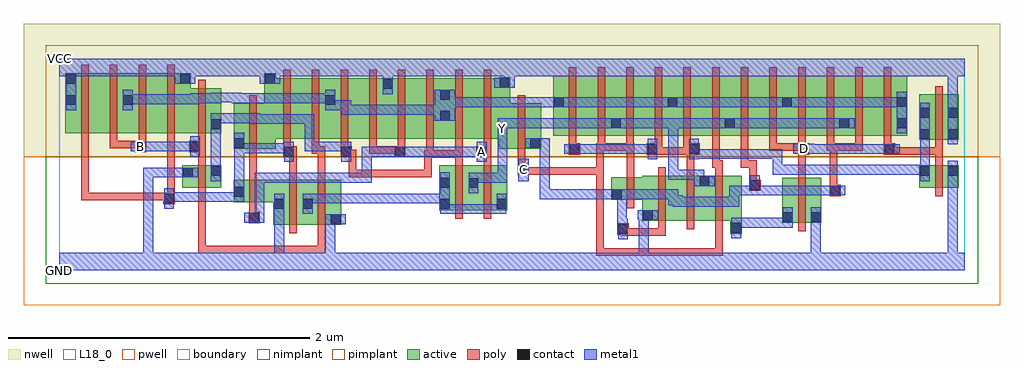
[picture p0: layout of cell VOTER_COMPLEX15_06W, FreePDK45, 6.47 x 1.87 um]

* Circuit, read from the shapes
.subckt VOTER_COMPLEX15_06W A B C D GND VCC Y
M1 n1 B GND VSUBS nfet w=0.15u l=0.05u
M2 GND A n2 VSUBS nfet w=0.15u l=0.05u
M3 n3 n2 GND VSUBS nfet w=0.3u l=0.05u
M4 GND B n3 VSUBS nfet w=0.3u l=0.05u
M5 Y n1 n3 VSUBS nfet w=0.3u l=0.05u
M6 n3 A Y VSUBS nfet w=0.3u l=0.05u
M7 GND C n4 VSUBS nfet w=0.15u l=0.05u
M8 n5 n4 GND VSUBS nfet w=0.3u l=0.05u
M9 Y n6 n5 VSUBS nfet w=0.3u l=0.05u
M10 n7 C Y VSUBS nfet w=0.3u l=0.05u
M11 GND D n7 VSUBS nfet w=0.3u l=0.05u
M12 GND D n6 VSUBS nfet w=0.15u l=0.05u
M13 n8 n2 VCC n9 pfet w=0.4u l=0.05u
M14 n10 B n8 n9 pfet w=0.4u l=0.05u
M15 n11 B n10 n9 pfet w=0.4u l=0.05u
M16 VCC n2 n11 n9 pfet w=0.4u l=0.05u
M17 n1 B VCC n9 pfet w=0.3u l=0.05u
M18 VCC A n2 n9 pfet w=0.3u l=0.05u
M19 n12 n2 VCC n9 pfet w=0.4u l=0.05u
M20 n10 B n12 n9 pfet w=0.4u l=0.05u
M21 n13 n1 n10 n9 pfet w=0.4u l=0.05u
M22 VCC A n13 n9 pfet w=0.4u l=0.05u
M23 n14 A VCC n9 pfet w=0.4u l=0.05u
M24 n10 n1 n14 n9 pfet w=0.4u l=0.05u
M25 n15 n1 n10 n9 pfet w=0.4u l=0.05u
M26 VCC A n15 n9 pfet w=0.4u l=0.05u
M27 n4 C VCC n9 pfet w=0.3u l=0.05u
M28 n16 n6 n10 n9 pfet w=0.4u l=0.05u
M29 Y C n16 n9 pfet w=0.4u l=0.05u
M30 n17 C Y n9 pfet w=0.4u l=0.05u
M31 n10 n6 n17 n9 pfet w=0.4u l=0.05u
M32 n18 n6 n10 n9 pfet w=0.4u l=0.05u
M33 Y C n18 n9 pfet w=0.4u l=0.05u
M34 n19 n4 Y n9 pfet w=0.4u l=0.05u
M35 n10 D n19 n9 pfet w=0.4u l=0.05u
M36 n20 D n10 n9 pfet w=0.4u l=0.05u
M37 Y n4 n20 n9 pfet w=0.4u l=0.05u
M38 n21 n4 Y n9 pfet w=0.4u l=0.05u
M39 n10 D n21 n9 pfet w=0.4u l=0.05u
M40 VCC D n6 n9 pfet w=0.3u l=0.05u
.ends

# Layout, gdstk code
import gdstk
lib = gdstk.Library(unit=1e-6, precision=1e-09)
def R(c, l, rs):  # rectangles x0, y0, x1, y1
    for r in rs: c.add(gdstk.rectangle(r[:2], r[2:], *l))
def A(c, l, x, y, w, h, nx, ny, dx, dy):  # array of equal rectangles
    R(c, l, [(x+i*dx, y+j*dy, x+i*dx+w, y+j*dy+h) for i in range(nx) for j in range(ny)])
active = (1, 0)
pwell = (2, 0)
nwell = (3, 0)
nimplant = (4, 0)
pimplant = (5, 0)
poly = (9, 0)
contact = (10, 0)
metal1 = (11, 0)
L18_0 = (18, 0)
boundary = (235, 0)

voter_complex15_06w = lib.new_cell('VOTER_COMPLEX15_06W')
A(voter_complex15_06w, active, 1.605, 0.872, 0.23, 0.4, 3, 1, 0.38, 0)
A(voter_complex15_06w, active, 1.76, 0.872, 0.225, 0.4, 3, 1, 0.38, 0)
A(voter_complex15_06w, active, 3.88, 0.89, 0.225, 0.4, 5, 1, 0.38, 0)
A(voter_complex15_06w, active, 4.03, 0.89, 0.23, 0.4, 4, 1, 0.38, 0)
R(voter_complex15_06w, active, [(4.452,0.242,4.527,0.627), (1.42,0.3,1.685,0.6), (1.42,0.3,1.495,0.525), (1.61,0.3,1.87,0.6), (1.61,0.3,1.685,0.525), (1.795,0.3,1.87,0.437), (4.795,0.312,4.87,0.392), (4.795,0.312,5.055,0.612), (4.98,0.312,5.055,0.392), (3.867,0.327,4.092,0.627), (3.867,0.327,3.942,0.597), (4.092,0.327,4.317,0.627), (4.242,0.327,4.527,0.627), (4.242,0.33,4.317,0.627), (2.52,0.395,2.595,0.695), (2.52,0.395,2.785,0.695), (2.71,0.395,2.97,0.695), (2.71,0.395,2.785,0.615), (2.895,0.395,2.97,0.695), (1.155,0.45,1.23,0.6), (1.155,0.45,1.495,0.6), (3.66,0.465,3.735,0.615), (3.66,0.465,3.942,0.615), (0.815,0.545,0.89,0.695), (0.815,0.545,1.075,0.695), (1,0.545,1.075,0.695), (5.705,0.545,5.78,0.695), (5.705,0.545,5.965,0.695), (5.89,0.545,5.965,0.695), (1.155,0.805,1.23,0.917), (1.155,0.805,1.435,1.105), (2.915,0.805,3.195,1.105), (3.12,0.805,3.195,0.917), (5.705,0.865,5.965,1.165), (5.705,0.865,5.78,1.165), (5.89,0.865,5.965,1.165), (1.36,0.872,1.605,1.272), (2.745,0.872,2.99,1.272), (1.76,0.88,1.835,1.2), (3.275,0.89,3.5,1.29), (3.5,0.89,3.73,1.29), (3.655,0.89,3.88,1.29), (3.655,0.89,3.73,1.07), (4.41,0.89,4.485,1.07), (5.17,0.89,5.245,1.07), (5.55,0.89,5.625,1.2), (0.04,0.907,0.265,1.307), (0.04,0.907,0.115,1.307), (0.265,0.907,0.49,1.307), (0.415,0.907,0.645,1.307), (0.415,0.907,0.49,1.2), (0.645,0.907,0.87,1.307), (0.795,0.907,1.075,1.207), (0.795,0.907,0.87,1.307), (1.36,0.907,1.435,1.307), (2.14,0.907,2.215,1.272), (2.52,0.907,2.595,1.2), (2.915,0.907,2.99,1.28), (3.275,0.907,3.38,1.2), (4.03,0.907,4.105,1.2), (4.79,0.907,4.865,1.2), (1,0.93,1.075,1.07)])
R(voter_complex15_06w, pwell, [(-0.235,-0.235,6.24,0.75)])
R(voter_complex15_06w, nwell, [(-0.235,0.75,6.24,1.635)])
R(voter_complex15_06w, nimplant, [(-0.09,-0.09,6.095,0.75)])
R(voter_complex15_06w, pimplant, [(-0.09,0.75,6.095,1.49)])
A(voter_complex15_06w, poly, 3.972, 0.272, 0.05, 0.41, 3, 1, 0.19, 0)
A(voter_complex15_06w, poly, 1.485, 0.772, 0.05, 0.095, 5, 1, 0.19, 0)
A(voter_complex15_06w, poly, 3.38, 0.79, 0.05, 0.095, 5, 1, 0.19, 0)
A(voter_complex15_06w, poly, 4.71, 0.79, 0.05, 0.095, 5, 1, 0.19, 0)
A(voter_complex15_06w, poly, 1.485, 0.817, 0.05, 0.51, 8, 1, 0.19, 0)
A(voter_complex15_06w, poly, 3.38, 0.835, 0.05, 0.51, 12, 1, 0.19, 0)
A(voter_complex15_06w, poly, 0.145, 0.852, 0.05, 0.51, 4, 1, 0.19, 0)
R(voter_complex15_06w, poly, [(3.56,0.095,3.61,0.145), (3.56,0.095,3.815,0.145), (3.56,0.095,3.61,0.682), (3.765,0.095,3.815,0.145), (3.765,0.095,3.815,0.145), (3.765,0.095,3.815,0.145), (3.765,0.095,4.022,0.145), (3.972,0.095,4.022,0.145), (3.972,0.095,4.022,0.145), (3.972,0.095,4.022,0.145), (3.972,0.095,4.155,0.145), (4.105,0.095,4.155,0.145), (4.105,0.095,4.155,0.145), (4.105,0.095,4.155,0.145), (4.105,0.095,4.155,0.145), (4.105,0.095,4.155,0.145), (4.105,0.095,4.402,0.145), (4.352,0.095,4.402,0.145), (4.352,0.095,4.402,0.145), (4.352,0.095,4.402,0.145), (4.352,0.095,4.402,0.322), (0.92,0.112,0.97,0.162), (0.92,0.112,0.97,0.162), (0.92,0.112,0.97,0.162), (0.92,0.112,1.102,0.162), (0.92,0.112,0.97,0.54), (1.052,0.112,1.102,0.162), (1.052,0.112,1.102,0.162), (1.052,0.112,1.102,0.162), (1.052,0.112,1.102,0.162), (1.052,0.112,1.102,0.162), (1.052,0.112,1.442,0.162), (1.392,0.112,1.442,0.162), (1.392,0.112,1.442,0.162), (1.392,0.112,1.442,0.162), (1.392,0.112,1.765,0.162), (1.715,0.112,1.765,0.162), (1.715,0.112,1.765,0.162), (1.715,0.112,1.765,0.162), (1.715,0.112,1.765,0.295), (3.727,0.227,4.022,0.277), (3.727,0.227,3.777,0.285), (3.972,0.227,4.022,0.322), (3.972,0.227,4.022,0.277), (3.972,0.227,4.022,0.277), (3.972,0.227,4.022,0.277), (3.702,0.235,3.777,0.31), (3.727,0.235,3.777,0.285), (1.525,0.245,1.575,0.655), (1.715,0.245,1.765,0.655), (4.9,0.257,4.95,0.667), (1.255,0.31,1.33,0.385), (1.26,0.335,1.31,0.445), (2.625,0.34,2.675,0.75), (2.815,0.34,2.865,0.75), (1.26,0.395,1.31,0.655), (3.765,0.41,3.815,0.67), (0.69,0.437,0.765,0.512), (0.145,0.462,0.195,0.512), (0.145,0.462,0.195,0.512), (0.145,0.462,0.195,0.512), (0.145,0.462,0.195,0.512), (0.145,0.462,0.195,0.512), (0.145,0.462,0.195,0.512), (0.145,0.462,0.195,0.512), (0.145,0.462,0.327,0.512), (0.145,0.462,0.195,0.902), (0.277,0.462,0.327,0.512), (0.277,0.462,0.327,0.512), (0.277,0.462,0.327,0.512), (0.277,0.462,0.607,0.512), (0.557,0.462,0.607,0.512), (0.557,0.462,0.607,0.512), (0.557,0.462,0.607,0.512), (0.557,0.462,0.74,0.512), (0.715,0.462,0.765,0.512), (0.715,0.462,0.765,0.512), (0.715,0.462,0.765,0.512), (0.715,0.462,0.765,0.512), (0.715,0.462,0.765,0.902), (0.92,0.49,0.97,0.75), (5.11,0.49,5.185,0.565), (5.81,0.49,5.86,0.75), (5.11,0.515,5.16,0.565), (5.11,0.515,5.16,0.565), (5.11,0.515,5.16,0.84), (4.577,0.525,4.652,0.6), (4.577,0.55,4.627,0.727), (1.26,0.605,1.31,0.755), (1.525,0.605,1.575,0.797), (1.715,0.605,1.765,0.822), (1.92,0.615,1.97,0.665), (1.92,0.615,1.97,0.665), (1.92,0.615,1.97,0.665), (1.92,0.615,2.105,0.665), (1.92,0.615,1.97,0.797), (2.055,0.615,2.105,0.665), (2.055,0.615,2.105,0.665), (2.055,0.615,2.105,0.665), (2.055,0.615,2.237,0.665), (2.187,0.615,2.237,0.665), (2.187,0.615,2.47,0.665), (2.42,0.615,2.47,0.665), (2.42,0.615,2.47,0.665), (2.42,0.615,2.47,0.665), (2.42,0.615,2.47,0.665), (2.42,0.615,2.47,0.665), (2.42,0.615,2.47,0.795), (4.9,0.617,4.95,0.815), (3.765,0.62,3.815,0.84), (3.04,0.632,3.115,0.707), (3.065,0.632,3.115,0.682), (3.065,0.632,3.115,0.682), (3.065,0.632,3.115,0.682), (3.065,0.632,3.115,0.682), (3.065,0.632,3.115,0.682), (3.065,0.632,3.115,0.682), (3.065,0.632,3.477,0.682), (3.427,0.632,3.477,0.682), (3.427,0.632,3.477,0.682), (3.427,0.632,3.477,0.682), (3.427,0.632,3.61,0.682), (3.56,0.632,3.61,0.682), (3.56,0.632,3.61,0.682), (3.56,0.632,3.61,0.682), (3.56,0.632,3.61,0.682), (3.56,0.632,3.61,0.682), (3.56,0.632,3.61,0.682), (3.56,0.632,3.61,0.682), (3.56,0.632,3.61,0.682), (3.56,0.632,3.61,0.682), (3.56,0.632,3.61,0.84), (4.162,0.632,4.212,0.815), (4.352,0.632,4.402,0.727), (3.04,0.657,3.09,0.8), (4.33,0.677,4.38,0.885), (4.33,0.677,4.402,0.727), (4.52,0.677,4.57,0.885), (4.52,0.677,4.627,0.727), (4.577,0.677,4.627,0.727), (4.577,0.677,4.627,0.727), (0.92,0.7,0.97,0.832), (2.625,0.7,2.675,0.795), (2.815,0.7,2.865,0.797), (5.81,0.7,5.86,0.815), (1.26,0.705,1.31,0.8), (1.26,0.705,1.31,0.755), (2.42,0.745,2.485,0.795), (2.435,0.745,2.675,0.795), (2.435,0.745,2.485,0.867), (2.625,0.745,2.675,0.795), (2.625,0.745,2.675,0.795), (2.625,0.745,2.675,0.795), (2.625,0.745,2.675,0.867), (1.485,0.747,1.575,0.822), (1.865,0.747,1.94,0.822), (1.89,0.747,1.94,0.797), (1.89,0.747,1.97,0.797), (2.22,0.747,2.295,0.822), (2.765,0.747,2.865,0.822), (1.26,0.75,1.31,1.16), (3.04,0.75,3.09,1.16), (3.38,0.765,3.455,0.84), (3.897,0.765,4,0.84), (3.95,0.765,4.19,0.815), (4.14,0.765,4.19,0.815), (4.14,0.765,4.19,0.815), (4.14,0.765,4.247,0.84), (4.9,0.765,4.975,0.84), (5.47,0.765,5.545,0.84), (5.495,0.765,5.545,0.815), (5.495,0.765,5.545,0.815), (5.495,0.765,5.86,0.815), (5.81,0.765,5.86,0.86), (5.81,0.765,5.86,0.815), (5.81,0.765,5.86,0.815), (5.81,0.765,5.86,0.815), (1.675,0.772,1.765,0.822), (2.055,0.772,2.105,0.822), (2.055,0.772,2.27,0.822), (2.22,0.772,2.27,0.822), (2.22,0.772,2.27,0.822), (2.815,0.772,2.865,0.867), (0.502,0.782,0.577,0.857), (0.862,0.782,0.97,0.857), (3.56,0.79,3.62,0.84), (3.57,0.79,3.81,0.84), (3.76,0.79,3.81,0.84), (3.76,0.79,3.81,0.84), (3.76,0.79,3.815,0.84), (4.71,0.79,4.76,0.84), (4.71,0.79,4.76,0.84), (4.71,0.79,4.76,0.84), (4.71,0.79,4.95,0.84), (5.09,0.79,5.16,0.84), (5.11,0.79,5.33,0.84), (5.28,0.79,5.33,0.84), (5.28,0.79,5.33,0.84), (5.28,0.79,5.33,0.84), (0.335,0.807,0.385,0.902), (0.335,0.807,0.385,0.857), (0.335,0.807,0.385,0.857), (0.335,0.807,0.385,0.857), (0.335,0.807,0.552,0.857), (0.525,0.807,0.575,0.902), (0.92,0.807,0.97,0.902), (5.81,0.81,5.86,1.22), (0.92,0.852,0.97,1.262)])
R(voter_complex15_06w, contact, [(3.707,0.24,3.772,0.305), (4.457,0.247,4.522,0.312), (1.8,0.305,1.865,0.37), (1.26,0.315,1.325,0.38), (4.8,0.317,4.865,0.382), (4.985,0.317,5.05,0.382), (3.872,0.332,3.937,0.397), (1.425,0.407,1.49,0.472), (1.615,0.407,1.68,0.472), (2.525,0.407,2.59,0.472), (2.9,0.407,2.965,0.472), (0.695,0.442,0.76,0.507), (3.665,0.47,3.73,0.535), (1.16,0.487,1.225,0.552), (5.115,0.495,5.18,0.56), (4.582,0.53,4.647,0.595), (2.715,0.545,2.78,0.61), (2.525,0.547,2.59,0.612), (4.247,0.557,4.312,0.622), (0.82,0.615,0.885,0.68), (1.005,0.625,1.07,0.69), (5.71,0.625,5.775,0.69), (5.895,0.625,5.96,0.69), (3.045,0.637,3.11,0.702), (1.49,0.752,1.555,0.817), (1.87,0.752,1.935,0.817), (2.225,0.752,2.29,0.817), (2.77,0.752,2.835,0.817), (3.385,0.77,3.45,0.835), (3.902,0.77,3.967,0.835), (4.177,0.77,4.242,0.835), (4.905,0.77,4.97,0.835), (5.475,0.77,5.54,0.835), (0.507,0.787,0.572,0.852), (0.867,0.787,0.932,0.852), (1.16,0.81,1.225,0.875), (3.125,0.81,3.19,0.875), (5.71,0.87,5.775,0.935), (5.895,0.87,5.96,0.935), (1.005,0.935,1.07,1), (3.66,0.942,3.725,1.007), (4.415,0.942,4.48,1.007), (5.175,0.942,5.24,1.007), (5.555,0.942,5.62,1.007), (2.525,0.99,2.59,1.055), (5.71,1.01,5.775,1.075), (5.895,1.01,5.96,1.075), (3.28,1.08,3.345,1.145), (4.035,1.08,4.1,1.145), (4.795,1.08,4.86,1.145), (5.555,1.082,5.62,1.147), (0.045,1.095,0.11,1.16), (0.42,1.095,0.485,1.16), (1.765,1.095,1.83,1.16), (2.525,1.13,2.59,1.195), (2.145,1.202,2.21,1.267), (2.92,1.21,2.985,1.275), (0.045,1.235,0.11,1.3), (0.8,1.237,0.865,1.302), (1.365,1.237,1.43,1.302)])
R(voter_complex15_06w, metal1, [(0,0,6.005,0.115), (0.557,0.05,0.622,0.115), (0.557,0.05,0.622,0.115), (0.557,0.05,0.622,0.68), (1.425,0.05,1.49,0.115), (1.425,0.05,1.49,0.115), (1.425,0.05,1.49,0.115), (1.425,0.05,1.49,0.115), (1.425,0.05,1.49,0.437), (1.765,0.05,1.83,0.115), (1.765,0.05,1.83,0.115), (1.765,0.05,1.83,0.115), (1.765,0.05,1.83,0.115), (1.765,0.05,1.83,0.37), (3.845,0.05,3.91,0.115), (3.845,0.05,3.91,0.115), (3.845,0.05,3.91,0.115), (3.845,0.05,3.91,0.115), (3.845,0.05,3.91,0.397), (4.985,0.05,5.05,0.115), (4.985,0.05,5.05,0.115), (4.985,0.05,5.05,0.115), (4.985,0.05,5.05,0.115), (4.985,0.05,5.05,0.347), (5.895,0.05,5.96,0.115), (5.895,0.05,5.96,0.115), (5.895,0.05,5.96,0.115), (5.895,0.05,5.96,0.115), (5.895,0.05,5.96,0.655), (3.707,0.205,3.772,0.34), (4.457,0.212,4.522,0.347), (3.7,0.275,3.765,0.34), (3.7,0.275,3.772,0.34), (3.7,0.275,3.765,0.535), (4.457,0.282,4.66,0.347), (4.595,0.282,4.66,0.347), (4.595,0.282,4.66,0.347), (4.595,0.282,4.66,0.347), (4.595,0.282,4.797,0.347), (4.732,0.282,4.797,0.347), (4.732,0.282,4.865,0.347), (4.8,0.282,4.865,0.417), (4.985,0.282,5.05,0.417), (1.765,0.305,1.9,0.37), (1.225,0.315,1.36,0.38), (1.295,0.315,1.36,0.645), (3.837,0.332,3.972,0.397), (1.425,0.372,1.49,0.507), (1.615,0.372,1.68,0.507), (2.525,0.372,2.59,0.647), (2.525,0.372,2.6,0.437), (2.535,0.372,2.6,0.437), (2.535,0.372,2.812,0.437), (2.747,0.372,2.812,0.437), (2.747,0.372,2.812,0.437), (2.747,0.372,2.812,0.437), (2.747,0.372,2.965,0.437), (2.9,0.372,2.965,0.507), (0.695,0.407,0.76,0.542), (4.07,0.42,4.307,0.485), (4.07,0.42,4.135,0.495), (4.242,0.42,4.307,0.485), (4.242,0.42,4.307,0.485), (4.242,0.42,4.307,0.485), (4.242,0.42,4.51,0.485), (4.445,0.42,4.51,0.56), (4.04,0.43,4.135,0.495), (4.04,0.43,4.105,0.535), (1.615,0.442,1.797,0.507), (1.732,0.442,1.797,0.507), (1.732,0.442,1.935,0.507), (1.87,0.442,1.935,0.507), (1.87,0.442,1.935,0.507), (1.87,0.442,1.935,0.507), (1.87,0.442,2.072,0.507), (2.007,0.442,2.072,0.507), (2.007,0.442,2.072,0.507), (2.007,0.442,2.072,0.507), (2.007,0.442,2.28,0.507), (2.215,0.442,2.28,0.507), (2.215,0.442,2.28,0.507), (2.215,0.442,2.28,0.507), (2.215,0.442,2.417,0.507), (2.352,0.442,2.417,0.507), (2.352,0.442,2.462,0.507), (2.397,0.442,2.462,0.507), (2.397,0.442,2.59,0.507), (0.695,0.452,0.76,0.517), (0.695,0.452,0.76,0.517), (0.695,0.452,0.932,0.517), (0.867,0.452,0.932,0.517), (0.867,0.452,0.932,0.517), (0.867,0.452,0.932,0.517), (0.867,0.452,1.225,0.517), (1.16,0.452,1.225,0.587), (3.187,0.47,3.252,0.535), (3.187,0.47,3.252,0.535), (3.187,0.47,3.252,0.535), (3.187,0.47,3.252,0.535), (3.187,0.47,3.252,0.535), (3.187,0.47,3.39,0.535), (3.187,0.47,3.252,0.875), (3.325,0.47,3.39,0.535), (3.325,0.47,3.39,0.535), (3.325,0.47,3.39,0.535), (3.325,0.47,3.552,0.535), (3.487,0.47,3.552,0.535), (3.487,0.47,3.622,0.535), (3.557,0.47,3.622,0.535), (3.557,0.47,3.695,0.535), (3.63,0.47,3.765,0.535), (3.7,0.47,3.765,0.535), (3.7,0.47,3.765,0.535), (3.7,0.47,3.902,0.535), (3.837,0.47,3.902,0.535), (3.837,0.47,4.105,0.535), (4.445,0.495,4.51,0.56), (4.445,0.495,4.51,0.56), (4.445,0.495,4.647,0.56), (4.582,0.495,4.647,0.63), (4.582,0.495,4.66,0.56), (4.595,0.495,4.66,0.56), (4.595,0.495,4.797,0.56), (4.732,0.495,4.797,0.56), (4.732,0.495,4.797,0.56), (4.732,0.495,4.797,0.56), (4.732,0.495,5.007,0.56), (4.942,0.495,5.007,0.56), (4.942,0.495,5.032,0.56), (4.967,0.495,5.032,0.56), (4.967,0.495,5.145,0.56), (5.08,0.495,5.215,0.56), (2.715,0.51,2.78,0.645), (1.16,0.522,1.225,0.84), (4.212,0.557,4.277,0.622), (4.212,0.557,4.347,0.622), (4.212,0.557,4.277,0.665), (1.295,0.58,1.36,0.645), (1.295,0.58,1.497,0.645), (1.432,0.58,1.497,0.645), (1.432,0.58,1.497,0.645), (1.432,0.58,1.497,0.645), (1.432,0.58,1.497,0.645), (1.432,0.58,1.497,0.645), (1.432,0.58,1.692,0.645), (1.627,0.58,1.692,0.645), (1.627,0.58,1.797,0.645), (1.732,0.58,1.797,0.645), (1.732,0.58,1.935,0.645), (1.87,0.58,1.935,0.645), (1.87,0.58,1.935,0.645), (1.87,0.58,1.935,0.645), (1.87,0.58,2.072,0.645), (2.007,0.58,2.072,0.645), (2.007,0.58,2.072,0.817), (2.715,0.58,2.78,0.645), (2.715,0.58,2.78,0.645), (2.715,0.58,2.972,0.645), (2.907,0.58,2.972,0.645), (2.907,0.58,2.972,0.937), (1.005,0.59,1.07,0.725), (3.045,0.59,3.115,0.737), (5.71,0.59,5.775,0.725), (5.895,0.59,5.96,0.655), (5.895,0.59,5.96,0.655), (5.895,0.59,5.96,0.725), (4.04,0.6,4.105,0.665), (4.04,0.6,4.277,0.665), (4.04,0.6,4.105,1.007), (0.557,0.615,0.622,0.68), (0.557,0.615,0.622,0.68), (0.557,0.615,0.622,0.68), (0.557,0.615,0.622,0.68), (0.557,0.615,0.622,0.68), (0.557,0.615,0.622,0.68), (0.557,0.615,0.622,0.68), (0.557,0.615,0.745,0.68), (0.68,0.615,0.745,0.68), (0.68,0.615,0.85,0.68), (0.785,0.615,0.92,0.68), (4.732,0.632,4.797,0.697), (4.732,0.632,5.007,0.697), (4.732,0.632,4.797,0.802), (4.942,0.632,5.007,0.697), (4.942,0.632,5.067,0.697), (5.002,0.632,5.067,0.697), (5.002,0.632,5.23,0.697), (5.165,0.632,5.23,0.697), (5.165,0.632,5.23,0.697), (5.165,0.632,5.23,0.697), (5.165,0.632,5.367,0.697), (5.302,0.632,5.367,0.697), (5.302,0.632,5.367,0.697), (5.302,0.632,5.367,0.697), (5.302,0.632,5.637,0.697), (5.572,0.632,5.637,0.697), (5.572,0.632,5.775,0.697), (5.71,0.632,5.775,0.697), (5.71,0.632,5.775,0.697), (1.005,0.66,1.07,0.965), (1.005,0.66,1.07,0.725), (1.005,0.66,1.07,0.725), (5.71,0.66,5.775,0.725), (5.71,0.66,5.775,0.725), (5.71,0.66,5.775,0.9), (1.49,0.717,1.555,0.852), (1.87,0.717,1.935,0.852), (2.767,0.717,2.835,0.852), (3.902,0.735,3.967,0.87), (4.177,0.735,4.242,0.87), (4.177,0.737,4.277,0.802), (4.212,0.737,4.277,0.802), (4.212,0.737,4.445,0.802), (4.38,0.737,4.445,0.802), (4.38,0.737,4.445,0.802), (4.38,0.737,4.445,0.802), (4.38,0.737,4.66,0.802), (4.595,0.737,4.66,0.802), (4.595,0.737,4.66,0.802), (4.595,0.737,4.66,0.802), (4.595,0.737,4.797,0.802), (4.732,0.737,4.797,0.802), (4.732,0.737,4.797,0.802), (4.732,0.737,4.797,0.802), (0.867,0.752,0.932,0.887), (2.007,0.752,2.072,0.817), (2.007,0.752,2.072,0.817), (2.007,0.752,2.072,0.817), (2.007,0.752,2.255,0.817), (2.19,0.752,2.255,0.817), (2.19,0.752,2.255,0.817), (2.19,0.752,2.325,0.817), (2.26,0.752,2.417,0.817), (2.352,0.752,2.417,0.817), (2.352,0.752,2.462,0.817), (2.397,0.752,2.462,0.817), (2.397,0.752,2.642,0.817), (2.577,0.752,2.642,0.817), (2.577,0.752,2.642,0.817), (2.577,0.752,2.642,0.817), (2.577,0.752,2.812,0.817), (2.747,0.752,2.812,0.817), (2.747,0.752,2.832,0.817), (3.35,0.77,3.485,0.835), (3.42,0.77,3.552,0.835), (3.487,0.77,3.552,0.835), (3.487,0.77,3.622,0.835), (3.557,0.77,3.622,0.835), (3.557,0.77,3.76,0.835), (3.695,0.77,3.76,0.835), (3.695,0.77,3.76,0.835), (3.695,0.77,3.76,0.835), (3.695,0.77,3.927,0.835), (3.862,0.77,3.927,0.835), (3.862,0.77,3.967,0.835), (4.87,0.77,5.007,0.837), (4.942,0.77,5.067,0.835), (5.002,0.77,5.067,0.835), (5.002,0.77,5.23,0.835), (5.165,0.77,5.23,0.835), (5.165,0.77,5.23,0.835), (5.165,0.77,5.23,0.835), (5.165,0.77,5.367,0.835), (5.302,0.77,5.367,0.835), (5.302,0.77,5.367,0.835), (5.302,0.77,5.367,0.835), (5.302,0.77,5.505,0.835), (5.44,0.77,5.575,0.835), (1.16,0.775,1.225,0.84), (1.16,0.775,1.225,0.84), (1.16,0.775,1.225,0.84), (1.16,0.775,1.225,0.84), (1.16,0.775,1.225,0.84), (1.16,0.775,1.225,0.84), (1.16,0.775,1.225,0.91), (1.16,0.775,1.402,0.84), (1.337,0.775,1.402,0.84), (1.337,0.775,1.555,0.84), (0.472,0.787,0.607,0.852), (0.542,0.787,0.622,0.852), (0.557,0.787,0.622,0.852), (0.557,0.787,0.795,0.852), (0.73,0.787,0.795,0.852), (0.73,0.787,0.795,0.852), (0.73,0.787,0.795,0.852), (0.73,0.787,0.932,0.852), (1.627,0.787,1.692,0.852), (1.627,0.787,1.692,0.852), (1.627,0.787,1.692,0.852), (1.627,0.787,1.797,0.852), (1.627,0.787,1.692,1.035), (1.732,0.787,1.797,0.852), (1.732,0.787,1.935,0.852), (1.87,0.787,1.935,0.852), (1.87,0.787,1.935,0.852), (3.09,0.81,3.252,0.875), (5.71,0.835,5.775,1.11), (5.895,0.835,5.96,1.11), (2.907,0.872,2.972,1.007), (1.005,0.9,1.07,1.035), (5.555,0.907,5.62,1.182), (2.907,0.942,2.972,1.007), (2.907,0.942,2.972,1.007), (2.907,0.942,2.972,1.007), (2.907,0.942,2.972,1.007), (2.907,0.942,2.972,1.007), (2.907,0.942,2.972,1.007), (2.907,0.942,3.252,1.007), (3.187,0.942,3.252,1.007), (3.187,0.942,3.39,1.007), (3.325,0.942,3.39,1.007), (3.325,0.942,3.39,1.007), (3.325,0.942,3.39,1.007), (3.325,0.942,3.527,1.007), (3.462,0.942,3.527,1.007), (3.462,0.942,3.622,1.007), (3.557,0.942,3.622,1.007), (3.557,0.942,3.69,1.007), (3.625,0.942,3.76,1.007), (3.695,0.942,3.76,1.007), (3.695,0.942,3.76,1.007), (3.695,0.942,3.927,1.007), (3.862,0.942,3.927,1.007), (3.862,0.942,3.927,1.007), (3.862,0.942,3.927,1.007), (3.862,0.942,4.105,1.007), (4.04,0.942,4.105,1.007), (4.04,0.942,4.105,1.007), (4.04,0.942,4.105,1.007), (4.04,0.942,4.105,1.007), (4.04,0.942,4.105,1.007), (4.04,0.942,4.307,1.007), (4.242,0.942,4.307,1.007), (4.242,0.942,4.307,1.007), (4.242,0.942,4.307,1.007), (4.242,0.942,4.445,1.007), (4.38,0.942,4.445,1.007), (4.38,0.942,4.445,1.007), (4.38,0.942,4.515,1.007), (4.45,0.942,4.66,1.007), (4.595,0.942,4.66,1.007), (4.595,0.942,4.66,1.007), (4.595,0.942,4.66,1.007), (4.595,0.942,4.797,1.007), (4.732,0.942,4.797,1.007), (4.732,0.942,4.797,1.007), (4.732,0.942,4.797,1.007), (4.732,0.942,5.007,1.007), (4.942,0.942,5.007,1.007), (4.942,0.942,5.032,1.007), (4.967,0.942,5.032,1.007), (4.967,0.942,5.205,1.007), (5.14,0.942,5.205,1.007), (5.14,0.942,5.205,1.007), (5.14,0.942,5.275,1.007), (1.005,0.97,1.07,1.04), (1.267,0.97,1.497,1.035), (1.267,0.97,1.332,1.04), (1.432,0.97,1.497,1.035), (1.432,0.97,1.497,1.035), (1.432,0.97,1.497,1.035), (1.432,0.97,1.692,1.035), (1.627,0.97,1.692,1.035), (1.005,0.975,1.07,1.04), (1.005,0.975,1.07,1.04), (1.005,0.975,1.07,1.04), (1.005,0.975,1.332,1.04), (2.49,0.99,2.625,1.195), (1.87,1.03,2.072,1.095), (1.87,1.03,1.935,1.125), (2.007,1.03,2.072,1.095), (2.007,1.03,2.072,1.095), (2.007,1.03,2.072,1.095), (2.007,1.03,2.28,1.095), (2.215,1.03,2.28,1.095), (2.215,1.03,2.28,1.095), (2.215,1.03,2.28,1.095), (2.215,1.03,2.417,1.095), (2.352,1.03,2.417,1.095), (2.352,1.03,2.462,1.095), (2.397,1.03,2.462,1.095), (2.397,1.03,2.555,1.095), (5.895,1.045,5.96,1.35), (0.045,1.06,0.11,1.335), (0.42,1.06,0.485,1.195), (1.765,1.06,1.83,1.195), (1.765,1.06,1.935,1.125), (2.56,1.08,2.625,1.145), (2.56,1.08,2.625,1.145), (2.56,1.08,2.812,1.145), (2.747,1.08,2.812,1.145), (2.747,1.08,2.812,1.145), (2.747,1.08,2.812,1.145), (2.747,1.08,2.95,1.145), (2.885,1.08,2.95,1.145), (2.885,1.08,3.172,1.145), (3.107,1.08,3.172,1.145), (3.107,1.08,3.172,1.145), (3.107,1.08,3.172,1.145), (3.107,1.08,3.31,1.145), (3.245,1.08,3.38,1.145), (3.315,1.08,3.39,1.145), (3.325,1.08,3.39,1.145), (3.325,1.08,3.552,1.145), (3.487,1.08,3.552,1.145), (3.487,1.08,3.622,1.145), (3.557,1.08,3.622,1.145), (3.557,1.08,3.76,1.145), (3.695,1.08,3.76,1.145), (3.695,1.08,3.76,1.145), (3.695,1.08,3.76,1.145), (3.695,1.08,3.927,1.145), (3.862,1.08,3.927,1.145), (3.862,1.08,4.065,1.145), (4,1.08,4.065,1.145), (4,1.08,4.065,1.145), (4,1.08,4.135,1.145), (4.07,1.08,4.272,1.145), (4.207,1.08,4.272,1.145), (4.207,1.08,4.272,1.145), (4.207,1.08,4.272,1.145), (4.207,1.08,4.445,1.145), (4.38,1.08,4.445,1.145), (4.38,1.08,4.445,1.145), (4.38,1.08,4.445,1.145), (4.38,1.08,4.66,1.145), (4.595,1.08,4.66,1.145), (4.595,1.08,4.66,1.145), (4.595,1.08,4.66,1.145), (4.595,1.08,4.797,1.145), (4.732,1.08,4.797,1.145), (4.732,1.08,4.825,1.145), (4.76,1.08,4.895,1.145), (4.83,1.08,4.935,1.145), (4.87,1.08,4.935,1.145), (4.87,1.08,5.032,1.145), (4.967,1.08,5.032,1.145), (4.967,1.08,5.23,1.145), (5.165,1.08,5.23,1.145), (5.165,1.08,5.23,1.145), (5.165,1.08,5.23,1.145), (5.165,1.08,5.367,1.145), (5.302,1.08,5.367,1.145), (5.302,1.08,5.367,1.145), (5.302,1.08,5.367,1.145), (5.302,1.08,5.62,1.145), (5.555,1.08,5.62,1.145), (5.555,1.08,5.62,1.145), (0.42,1.1,0.485,1.165), (0.42,1.1,0.485,1.165), (0.42,1.1,0.622,1.165), (0.557,1.1,0.622,1.165), (0.557,1.1,0.795,1.165), (0.73,1.1,0.795,1.165), (0.73,1.1,0.795,1.165), (0.73,1.1,0.795,1.165), (0.73,1.1,0.932,1.165), (0.867,1.1,0.932,1.172), (0.867,1.107,1.07,1.172), (1.005,1.107,1.07,1.177), (1.142,1.107,1.362,1.172), (1.142,1.107,1.207,1.177), (1.297,1.107,1.362,1.172), (1.297,1.107,1.66,1.172), (1.595,1.107,1.66,1.172), (1.595,1.107,1.66,1.172), (1.595,1.107,1.66,1.172), (1.595,1.107,1.797,1.172), (1.732,1.107,1.797,1.172), (1.732,1.107,1.83,1.172), (1.005,1.112,1.207,1.177), (1.142,1.112,1.207,1.177), (1.142,1.112,1.207,1.177), (2.145,1.167,2.21,1.302), (2.885,1.21,3.02,1.275), (2.955,1.21,3.02,1.35), (0.765,1.237,0.9,1.302), (0.835,1.237,0.9,1.35), (1.33,1.237,1.465,1.302), (1.4,1.237,1.465,1.35), (2.145,1.237,2.21,1.35), (0.045,1.27,0.11,1.35), (0,1.285,6.005,1.4), (5.895,1.285,5.96,1.35), (5.895,1.285,5.96,1.35)])
R(voter_complex15_06w, L18_0, [(0,0,6.005,0.115), (0.557,0.05,0.622,0.115), (0.557,0.05,0.622,0.115), (0.557,0.05,0.622,0.68), (1.425,0.05,1.49,0.115), (1.425,0.05,1.49,0.115), (1.425,0.05,1.49,0.115), (1.425,0.05,1.49,0.115), (1.425,0.05,1.49,0.437), (1.765,0.05,1.83,0.115), (1.765,0.05,1.83,0.115), (1.765,0.05,1.83,0.115), (1.765,0.05,1.83,0.115), (1.765,0.05,1.83,0.37), (3.845,0.05,3.91,0.115), (3.845,0.05,3.91,0.115), (3.845,0.05,3.91,0.115), (3.845,0.05,3.91,0.115), (3.845,0.05,3.91,0.397), (4.985,0.05,5.05,0.115), (4.985,0.05,5.05,0.115), (4.985,0.05,5.05,0.115), (4.985,0.05,5.05,0.115), (4.985,0.05,5.05,0.347), (5.895,0.05,5.96,0.115), (5.895,0.05,5.96,0.115), (5.895,0.05,5.96,0.115), (5.895,0.05,5.96,0.115), (5.895,0.05,5.96,0.655), (4.985,0.282,5.05,0.417), (1.765,0.305,1.9,0.37), (1.225,0.315,1.36,0.38), (1.295,0.315,1.36,0.645), (3.837,0.332,3.972,0.397), (1.425,0.372,1.49,0.507), (2.715,0.51,2.78,0.645), (4.212,0.557,4.347,0.622), (4.212,0.557,4.277,0.622), (4.212,0.557,4.277,0.665), (1.295,0.58,1.36,0.645), (1.295,0.58,1.497,0.645), (1.432,0.58,1.497,0.645), (1.432,0.58,1.497,0.645), (1.432,0.58,1.497,0.645), (1.432,0.58,1.497,0.645), (1.432,0.58,1.497,0.645), (1.432,0.58,1.692,0.645), (1.627,0.58,1.692,0.645), (1.627,0.58,1.797,0.645), (1.732,0.58,1.797,0.645), (1.732,0.58,1.935,0.645), (1.87,0.58,1.935,0.645), (1.87,0.58,1.935,0.645), (1.87,0.58,1.935,0.645), (1.87,0.58,2.072,0.645), (2.007,0.58,2.072,0.645), (2.007,0.58,2.072,0.817), (2.715,0.58,2.78,0.645), (2.715,0.58,2.78,0.645), (2.715,0.58,2.972,0.645), (2.907,0.58,2.972,0.645), (2.907,0.58,2.972,0.937), (3.045,0.59,3.115,0.737), (5.895,0.59,5.96,0.655), (5.895,0.59,5.96,0.655), (5.895,0.59,5.96,0.725), (4.04,0.6,4.105,0.665), (4.04,0.6,4.105,1.007), (4.04,0.6,4.277,0.665), (0.557,0.615,0.622,0.68), (0.557,0.615,0.622,0.68), (0.557,0.615,0.622,0.68), (0.557,0.615,0.622,0.68), (0.557,0.615,0.622,0.68), (0.557,0.615,0.622,0.68), (0.557,0.615,0.622,0.68), (0.557,0.615,0.745,0.68), (0.68,0.615,0.745,0.68), (0.68,0.615,0.85,0.68), (0.785,0.615,0.92,0.68), (3.047,0.637,3.112,0.702), (2.767,0.717,2.835,0.852), (0.867,0.752,0.932,0.887), (2.007,0.752,2.072,0.817), (2.007,0.752,2.072,0.817), (2.007,0.752,2.072,0.817), (2.007,0.752,2.255,0.817), (2.19,0.752,2.325,0.817), (2.19,0.752,2.255,0.817), (2.19,0.752,2.255,0.817), (2.26,0.752,2.417,0.817), (2.352,0.752,2.417,0.817), (2.352,0.752,2.462,0.817), (2.397,0.752,2.462,0.817), (2.397,0.752,2.642,0.817), (2.577,0.752,2.642,0.817), (2.577,0.752,2.642,0.817), (2.577,0.752,2.642,0.817), (2.577,0.752,2.812,0.817), (2.747,0.752,2.812,0.817), (2.747,0.752,2.832,0.817), (2.767,0.752,2.832,0.817), (4.87,0.77,5.007,0.837), (4.942,0.77,5.067,0.835), (5.002,0.77,5.067,0.835), (5.002,0.77,5.23,0.835), (5.165,0.77,5.23,0.835), (5.165,0.77,5.23,0.835), (5.165,0.77,5.23,0.835), (5.165,0.77,5.367,0.835), (5.302,0.77,5.367,0.835), (5.302,0.77,5.367,0.835), (5.302,0.77,5.367,0.835), (5.302,0.77,5.505,0.835), (5.44,0.77,5.575,0.835), (4.907,0.772,4.972,0.837), (0.472,0.787,0.607,0.852), (0.507,0.787,0.572,0.852), (0.542,0.787,0.622,0.852), (0.557,0.787,0.622,0.852), (0.557,0.787,0.795,0.852), (0.73,0.787,0.795,0.852), (0.73,0.787,0.795,0.852), (0.73,0.787,0.795,0.852), (0.73,0.787,0.932,0.852), (5.895,0.835,5.96,1.11), (2.907,0.872,2.972,1.007), (2.907,0.907,2.972,0.972), (2.907,0.942,2.972,1.007), (2.907,0.942,2.972,1.007), (2.907,0.942,2.972,1.007), (2.907,0.942,2.972,1.007), (2.907,0.942,2.972,1.007), (2.907,0.942,2.972,1.007), (2.907,0.942,3.252,1.007), (3.187,0.942,3.252,1.007), (3.187,0.942,3.39,1.007), (3.325,0.942,3.39,1.007), (3.325,0.942,3.39,1.007), (3.325,0.942,3.39,1.007), (3.325,0.942,3.527,1.007), (3.462,0.942,3.527,1.007), (3.462,0.942,3.622,1.007), (3.557,0.942,3.622,1.007), (3.557,0.942,3.69,1.007), (3.625,0.942,3.76,1.007), (3.695,0.942,3.76,1.007), (3.695,0.942,3.76,1.007), (3.695,0.942,3.927,1.007), (3.862,0.942,3.927,1.007), (3.862,0.942,3.927,1.007), (3.862,0.942,3.927,1.007), (3.862,0.942,4.105,1.007), (4.04,0.942,4.105,1.007), (4.04,0.942,4.105,1.007), (4.04,0.942,4.105,1.007), (4.04,0.942,4.105,1.007), (4.04,0.942,4.105,1.007), (4.04,0.942,4.307,1.007), (4.242,0.942,4.307,1.007), (4.242,0.942,4.307,1.007), (4.242,0.942,4.307,1.007), (4.242,0.942,4.445,1.007), (4.38,0.942,4.515,1.007), (4.38,0.942,4.445,1.007), (4.38,0.942,4.445,1.007), (4.45,0.942,4.66,1.007), (4.595,0.942,4.66,1.007), (4.595,0.942,4.66,1.007), (4.595,0.942,4.66,1.007), (4.595,0.942,4.797,1.007), (4.732,0.942,4.797,1.007), (4.732,0.942,4.797,1.007), (4.732,0.942,4.797,1.007), (4.732,0.942,5.007,1.007), (4.942,0.942,5.007,1.007), (4.942,0.942,5.032,1.007), (4.967,0.942,5.032,1.007), (4.967,0.942,5.205,1.007), (5.14,0.942,5.275,1.007), (5.14,0.942,5.205,1.007), (5.14,0.942,5.205,1.007), (5.895,1.045,5.96,1.35), (0.045,1.06,0.11,1.335), (2.145,1.167,2.21,1.302), (2.885,1.21,3.02,1.275), (2.955,1.21,3.02,1.35), (0.765,1.237,0.9,1.302), (0.835,1.237,0.9,1.35), (1.33,1.237,1.465,1.302), (1.4,1.237,1.465,1.35), (2.145,1.237,2.21,1.35), (0.045,1.27,0.11,1.35), (0,1.285,6.005,1.4), (5.895,1.285,5.96,1.35), (5.895,1.285,5.96,1.35)])
R(voter_complex15_06w, boundary, [(0,0,6.005,1.4)])
voter_complex15_06w.add(gdstk.Label('A', (2.8,0.785), layer=11, texttype=0))
voter_complex15_06w.add(gdstk.Label('B', (0.54,0.82), layer=11, texttype=0))
voter_complex15_06w.add(gdstk.Label('C', (3.08,0.67), layer=11, texttype=0))
voter_complex15_06w.add(gdstk.Label('D', (4.94,0.805), layer=11, texttype=0))
voter_complex15_06w.add(gdstk.Label('Y', (2.94,0.94), layer=11, texttype=0))
voter_complex15_06w.add(gdstk.Label('VCC', (0,1.4), layer=11, texttype=0))
voter_complex15_06w.add(gdstk.Label('GND', (0,0), layer=11, texttype=0))

lib.write_gds('VOTER_COMPLEX15_06W.gds')
